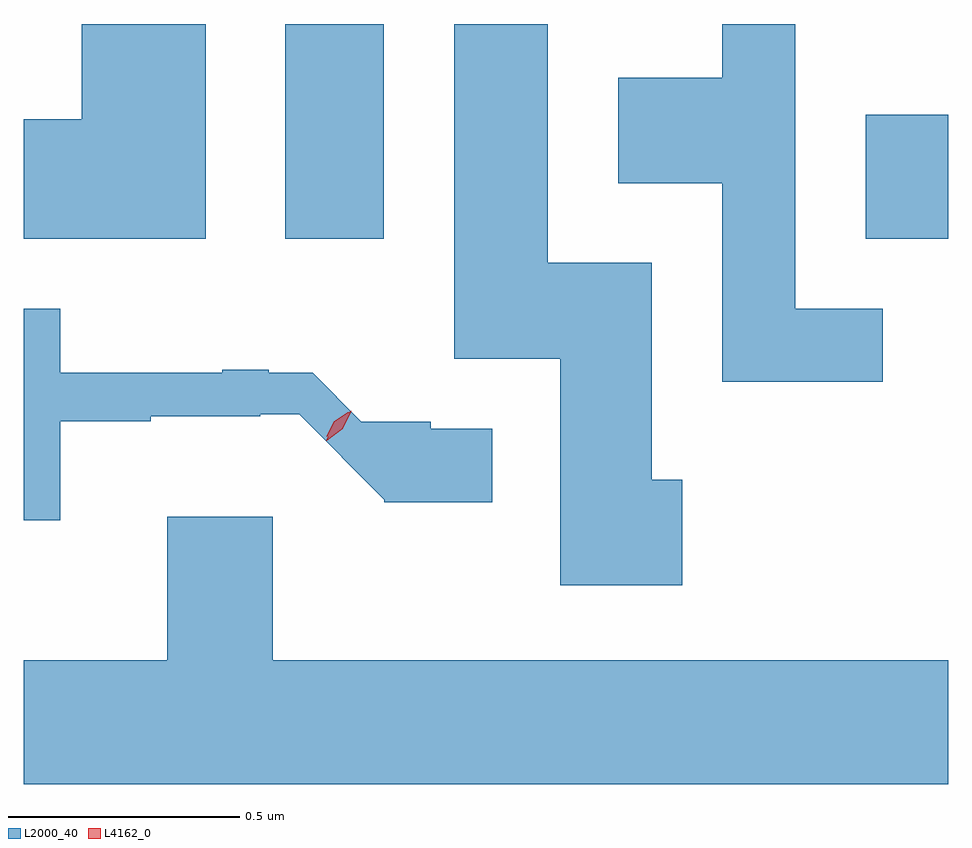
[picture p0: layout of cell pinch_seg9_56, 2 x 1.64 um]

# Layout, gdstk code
import gdstk
lib = gdstk.Library(unit=1e-6, precision=1e-09)
def R(c, l, rs):  # rectangles x0, y0, x1, y1
    for r in rs: c.add(gdstk.rectangle(r[:2], r[2:], *l))
def P(c, l, *ps):  # polygons
    for p in ps: c.add(gdstk.Polygon(p, *l))
L2000_40 = (2000, 40)
L4162_0 = (4162, 0)

pinch_seg9_56 = lib.new_cell('pinch_seg9_56')
R(pinch_seg9_56, L2000_40, [(639.316,2048.496,639.529,2048.96), (640.571,2048.496,640.75,2048.764)])
P(pinch_seg9_56, L2000_40, [(640.174,2047.974),(640.109,2047.974),(640.109,2048.444),(639.884,2048.444),(639.884,2048.96),(639.681,2048.96),(639.681,2048.236),(639.911,2048.236),(639.911,2047.746),(640.174,2047.746)],
  [(639.144,2048.96),(638.876,2048.96),(638.876,2048.754),(638.75,2048.754),(638.75,2048.496),(639.144,2048.496)],
  [(640.608,2048.344),(640.419,2048.344),(640.419,2048.96),(640.261,2048.96),(640.261,2048.844),(640.036,2048.844),(640.036,2048.616),(640.261,2048.616),(640.261,2048.186),(640.608,2048.186)],
  [(638.829,2048.101),(639.025,2048.101),(639.025,2048.111),(639.262,2048.111),(639.262,2048.116),(639.346,2048.116),(639.53,2047.931),(639.53,2047.926),(639.763,2047.926),(639.763,2048.084),(639.63,2048.084),(639.63,2048.1),(639.48,2048.1),(639.375,2048.206),(639.28,2048.206),(639.28,2048.212),(639.18,2048.212),(639.18,2048.206),(638.829,2048.206),(638.829,2048.344),(638.75,2048.344),(638.75,2047.886),(638.829,2047.886)],
  [(640.75,2047.584),(639.289,2047.584),(639.289,2047.894),(639.061,2047.894),(639.061,2047.584),(638.75,2047.584),(638.75,2047.316),(640.75,2047.316)])
P(pinch_seg9_56, L4162_0, [(639.404,2048.059),(639.404,2048.06),(639.424,2048.098),(639.458,2048.123),(639.459,2048.123),(639.459,2048.122),(639.44,2048.084),(639.405,2048.059)],
  [(639.405,2048.067),(639.405,2048.068),(639.421,2048.1),(639.451,2048.12),(639.452,2048.12),(639.452,2048.12),(639.436,2048.087),(639.406,2048.067)])

lib.write_gds('pinch_seg9_56.gds')
